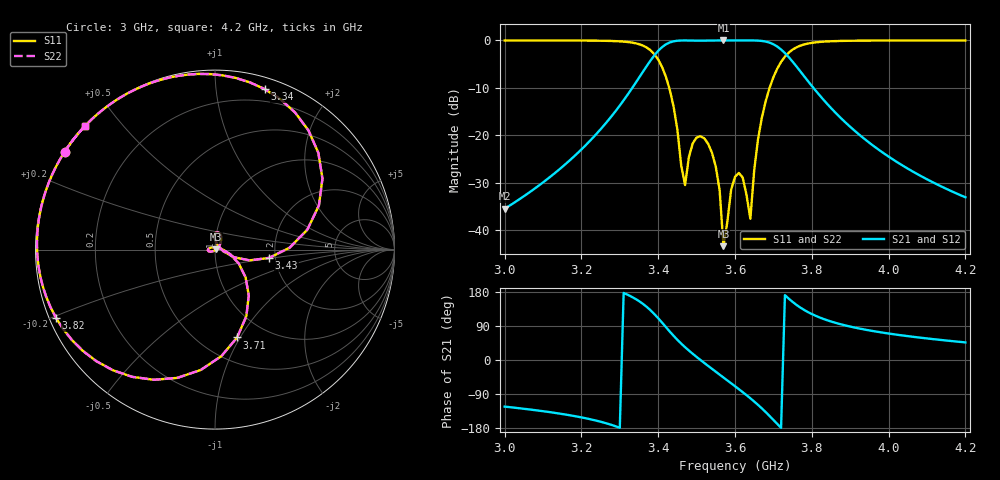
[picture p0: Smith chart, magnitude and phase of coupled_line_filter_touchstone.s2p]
# Hz S DB R 50
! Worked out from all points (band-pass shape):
!   121 points, 3 GHz to 4.2 GHz, reference 50 ohm
!   highest |S21| = 0.00 dB at 3.57 GHz (marker M1); lowest = -35.5 dB at 3 GHz (marker M2)
!   |S21| within 3 dB of the highest: 3.391 GHz to 3.734 GHz (342.6 MHz wide, 9.61 % of centre)
!   lowest |S11| = -43.3 dB at 3.57 GHz (marker M3), VSWR 1.01, Z = 50.7 + j0.157 ohm
!   |S11| at or under -10 dB: 3.429 GHz to 3.69 GHz (261.2 MHz wide, 7.34 % of centre)
!   |S22| runs from -43.3 to 0.0 dB; largest |S21 - S12| = 0
!   S11 on the Smith chart (normalised r, x): 3 GHz: 0.00, +0.30; 3.34 GHz: 0.09, +1.35; 3.43 GHz: 1.85, -0.19; 3.71 GHz: 0.74, -0.97; 3.82 GHz: 0.02, -0.21; 4.2 GHz: 0.00, +0.40
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3e9  -0.00 147.0  -35.45 -123.0  -35.45 -123.0  -0.00 147.0
3.2e9  -0.02 118.7  -22.95 -151.5  -22.95 -151.5  -0.02 118.7
3.34e9  -0.57 72.8  -9.08 161.7  -9.08 161.7  -0.57 72.8
3.4e9  -4.02 23.0  -2.19 110.3  -2.19 110.3  -4.02 23.0
3.43e9  -10.35 -8.8  -0.42 75.2  -0.42 75.2  -10.35 -8.8
3.47e9  -30.46 65.1  -0.00 33.7  -0.00 33.7  -30.46 65.1
3.48e9  -24.51 91.6  -0.02 24.8  -0.02 24.8  -24.51 91.6
3.5e9  -20.43 86.5  -0.04 8.1  -0.04 8.1  -20.43 86.5
3.54e9  -23.64 57.7  -0.02 -23.2  -0.02 -23.2  -23.64 57.7
3.56e9  -31.53 38.8  -0.00 -38.6  -0.00 -38.6  -31.53 38.8
3.57e9  -43.32 13.1  -0.00 -46.2  -0.00 -46.2  -43.32 13.1
3.6e9  -28.69 -164.7  -0.01 -69.2  -0.01 -69.2  -28.69 -164.7
3.62e9  -28.85 172.2  -0.01 -84.8  -0.01 -84.8  -28.85 172.2
3.64e9  -37.56 63.7  -0.00 -101.0  -0.00 -101.0  -37.56 63.7
3.65e9  -27.35 1.0  -0.01 -109.6  -0.01 -109.6  -27.35 1.0
3.67e9  -16.23 -30.6  -0.11 -127.8  -0.11 -127.8  -16.23 -30.6
3.71e9  -5.94 -75.9  -1.28 -168.7  -1.28 -168.7  -5.94 -75.9
3.75e9  -1.92 -115.1  -4.46 153.3  -4.46 153.3  -1.92 -115.1
3.8e9  -0.51 -147.7  -9.57 121.3  -9.57 121.3  -0.51 -147.7
3.82e9  -0.32 -156.8  -11.52 112.4  -11.52 112.4  -0.32 -156.8
4e9  -0.02 160.2  -24.45 69.9  -24.45 69.9  -0.02 160.2
4.2e9  -0.00 136.5  -33.03 46.4  -33.03 46.4  -0.00 136.5
